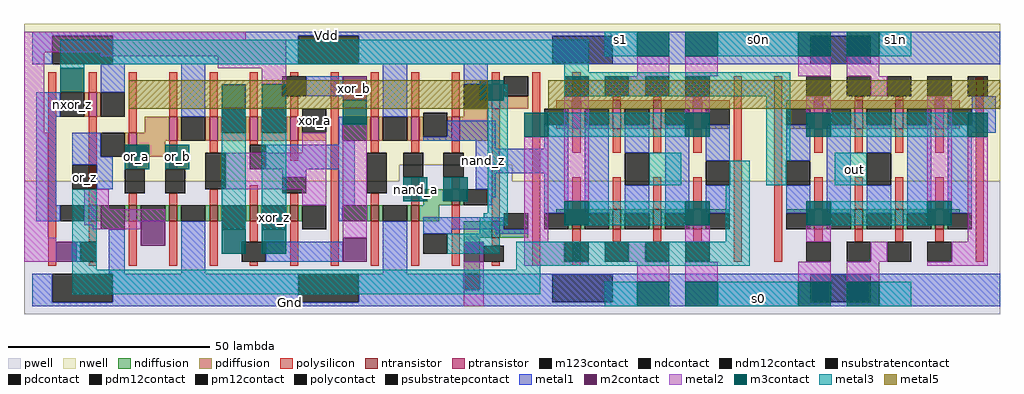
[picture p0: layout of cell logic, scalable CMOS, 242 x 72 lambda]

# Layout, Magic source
magic
tech scmos
<< nwell >>
rect 85 37 327 72
rect 85 33 178 37
rect 206 33 327 37
<< pwell >>
rect 178 33 206 37
rect 85 0 327 33
<< ntransistor >>
rect 101 23 103 27
rect 111 23 113 27
rect 121 23 123 27
rect 131 23 133 27
rect 141 23 143 27
rect 151 23 153 27
rect 191 27 193 31
rect 171 23 173 27
rect 181 23 183 27
rect 201 19 203 23
<< ptransistor >>
rect 101 49 103 55
rect 111 39 113 45
rect 121 43 123 49
rect 131 43 133 49
rect 141 43 143 49
rect 151 43 153 49
rect 171 43 173 49
rect 181 43 183 49
rect 201 51 203 57
rect 191 43 193 49
<< ndiffusion >>
rect 100 23 101 27
rect 103 23 104 27
rect 110 23 111 27
rect 113 23 114 27
rect 120 23 121 27
rect 123 23 124 27
rect 130 23 131 27
rect 133 23 134 27
rect 140 23 141 27
rect 143 23 144 27
rect 150 23 151 27
rect 153 23 154 27
rect 184 27 191 31
rect 193 27 194 31
rect 170 23 171 27
rect 173 23 174 27
rect 180 23 181 27
rect 183 23 188 27
rect 194 19 201 23
rect 203 21 204 23
rect 203 19 210 21
rect 194 10 198 19
<< pdiffusion >>
rect 100 49 101 55
rect 103 49 104 55
rect 115 45 121 49
rect 110 39 111 45
rect 113 43 121 45
rect 123 43 124 49
rect 130 43 131 49
rect 133 45 134 49
rect 140 45 141 49
rect 133 43 141 45
rect 143 45 144 49
rect 150 45 151 49
rect 143 43 151 45
rect 153 45 154 49
rect 153 43 160 45
rect 113 39 120 43
rect 170 43 171 49
rect 173 43 174 49
rect 180 43 181 49
rect 183 44 184 49
rect 200 51 201 57
rect 203 54 204 57
rect 203 51 210 54
rect 194 49 200 51
rect 190 44 191 49
rect 183 43 191 44
rect 193 43 200 49
<< ndcontact >>
rect 94 23 100 27
rect 104 21 110 27
rect 114 23 120 27
rect 124 23 130 27
rect 194 27 200 31
rect 164 23 170 27
rect 174 23 180 27
rect 204 21 210 25
rect 194 6 198 10
<< pdcontact >>
rect 104 49 110 55
rect 104 39 110 45
rect 124 43 130 49
rect 164 43 170 49
rect 174 43 180 49
rect 194 51 200 57
<< psubstratepcontact >>
rect 92 3 107 10
rect 153 3 168 10
rect 216 3 231 10
rect 280 3 295 10
<< nsubstratencontact >>
rect 92 62 107 69
rect 153 62 168 69
rect 216 62 231 69
rect 280 62 295 69
<< polysilicon >>
rect 91 12 93 60
rect 101 55 103 60
rect 101 27 103 49
rect 111 45 113 60
rect 121 49 123 60
rect 131 49 133 60
rect 141 49 143 60
rect 151 59 153 60
rect 151 49 153 54
rect 111 36 113 39
rect 121 36 123 43
rect 131 40 133 43
rect 141 42 143 43
rect 151 38 153 43
rect 111 27 113 30
rect 121 27 123 30
rect 131 27 133 31
rect 141 27 143 32
rect 151 27 153 30
rect 101 18 103 23
rect 101 12 103 13
rect 111 12 113 23
rect 121 12 123 23
rect 131 12 133 23
rect 141 18 143 23
rect 141 12 143 13
rect 151 12 153 23
rect 161 12 163 60
rect 171 49 173 60
rect 181 49 183 60
rect 191 49 193 60
rect 201 57 203 60
rect 171 40 173 43
rect 181 40 183 43
rect 191 40 193 43
rect 171 27 173 30
rect 181 27 183 34
rect 191 31 193 34
rect 171 12 173 23
rect 181 12 183 23
rect 191 12 193 27
rect 201 23 203 51
rect 201 17 203 19
rect 201 12 203 13
rect 211 12 213 60
rect 221 40 223 60
rect 221 12 223 34
<< polycontact >>
rect 149 54 155 59
rect 141 36 145 42
rect 149 30 155 34
rect 99 13 103 18
rect 139 13 145 18
rect 199 13 204 17
<< metal1 >>
rect 87 69 219 70
rect 87 62 92 69
rect 107 62 153 69
rect 168 62 216 69
rect 104 55 110 62
rect 88 49 94 55
rect 124 49 130 62
rect 155 54 164 59
rect 88 27 93 49
rect 97 39 104 45
rect 174 49 180 62
rect 194 57 200 62
rect 163 43 164 49
rect 190 44 202 48
rect 184 43 202 44
rect 163 42 167 43
rect 97 37 107 39
rect 103 31 107 37
rect 145 36 167 42
rect 197 41 202 43
rect 149 34 155 36
rect 163 27 167 36
rect 197 35 220 41
rect 197 31 202 35
rect 200 29 202 31
rect 200 27 201 29
rect 88 23 94 27
rect 98 13 99 18
rect 106 10 110 21
rect 124 10 130 23
rect 163 23 164 27
rect 145 13 164 18
rect 174 10 180 23
rect 184 21 204 24
rect 184 20 191 21
rect 202 20 210 21
rect 87 3 92 10
rect 107 3 153 10
rect 168 6 194 10
rect 198 6 216 10
rect 168 3 216 6
rect 87 2 222 3
<< m2contact >>
rect 164 53 170 59
rect 93 13 98 18
rect 114 17 120 23
rect 164 13 170 19
rect 194 13 199 18
<< pm12contact >>
rect 110 30 115 36
rect 120 30 125 36
rect 130 31 135 40
rect 170 30 175 40
rect 179 34 184 40
rect 189 34 194 40
<< pdm12contact >>
rect 94 49 100 55
rect 134 45 140 51
rect 144 45 150 51
rect 154 45 160 51
rect 204 54 210 59
rect 184 44 190 50
<< ndm12contact >>
rect 134 21 140 27
rect 144 21 150 27
rect 154 21 160 27
<< metal2 >>
rect 85 68 140 70
rect 85 65 150 68
rect 85 45 90 65
rect 104 64 150 65
rect 133 61 150 64
rect 144 57 150 61
rect 85 19 91 45
rect 154 40 160 45
rect 100 26 106 31
rect 135 31 160 40
rect 154 27 160 31
rect 100 23 120 26
rect 100 22 114 23
rect 102 21 114 22
rect 85 13 93 19
rect 164 19 170 47
rect 194 2 199 13
<< m3contact >>
rect 94 55 100 61
rect 134 51 140 57
rect 144 51 150 57
rect 198 53 204 58
rect 110 36 116 42
rect 120 36 126 42
rect 134 15 140 21
rect 164 47 170 53
rect 144 15 150 21
rect 179 28 185 34
rect 189 28 195 34
<< m123contact >>
rect 97 31 103 37
rect 184 15 190 20
<< metal3 >>
rect 94 62 210 68
rect 232 67 234 69
rect 266 67 268 69
rect 300 67 302 69
rect 94 61 100 62
rect 97 11 103 31
rect 134 21 140 51
rect 204 53 205 57
rect 144 21 150 51
rect 200 25 205 53
rect 241 33 244 38
rect 289 35 294 38
rect 199 24 205 25
rect 198 22 205 24
rect 198 20 203 22
rect 190 15 203 20
rect 207 11 213 18
rect 97 5 213 11
rect 232 3 234 5
rect 266 3 268 5
rect 300 3 302 5
<< metal5 >>
rect 111 51 200 58
rect 215 51 327 58
use mux_4_to_1  mux_4_to_1_0
transform 1 0 221 0 1 64
box -14 -62 106 6
<< labels >>
rlabel m2contact 167 56 167 56 1 xor_b
rlabel pdm12contact 157 48 157 48 1 xor_a
rlabel metal3 147 24 147 24 1 xor_z
rlabel m3contact 113 39 113 39 1 or_a
rlabel m3contact 123 39 123 39 1 or_b
rlabel m3contact 182 31 182 31 1 nand_a
rlabel metal1 199 38 199 38 1 nand_z
rlabel pdm12contact 97 52 97 52 1 nxor_z
rlabel m123contact 100 34 100 34 1 or_z
rlabel metal3 267 4 267 4 1 s0
rlabel metal3 301 68 301 68 5 s1n
rlabel metal3 267 68 267 68 5 s0n
rlabel metal3 233 68 233 68 5 s1
rlabel metal3 291 36 291 36 1 out
rlabel m3contact 192 31 192 31 1 nand_b
rlabel metal1 160 69 160 69 5 Vdd
rlabel metal1 151 3 151 3 1 Gnd
<< end >>

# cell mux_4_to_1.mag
magic
tech scmos
<< ntransistor >>
rect 0 -43 2 -38
rect 10 -43 12 -38
rect 20 -43 22 -38
rect 30 -43 32 -38
rect 60 -43 62 -38
rect 70 -43 72 -38
rect 80 -43 82 -38
rect 90 -43 92 -38
<< ptransistor >>
rect 0 -18 2 -11
rect 10 -18 12 -11
rect 20 -18 22 -11
rect 30 -18 32 -11
rect 60 -18 62 -11
rect 70 -18 72 -11
rect 80 -18 82 -11
rect 90 -18 92 -11
<< ndiffusion >>
rect -4 -39 0 -38
rect -1 -43 0 -39
rect 2 -39 10 -38
rect 2 -43 3 -39
rect 9 -43 10 -39
rect 12 -39 20 -38
rect 12 -43 13 -39
rect 19 -43 20 -39
rect 22 -39 30 -38
rect 22 -43 23 -39
rect 29 -43 30 -39
rect 32 -39 39 -38
rect 32 -43 33 -39
rect 53 -39 60 -38
rect 59 -43 60 -39
rect 62 -39 70 -38
rect 62 -43 63 -39
rect 69 -43 70 -39
rect 72 -39 80 -38
rect 72 -43 73 -39
rect 79 -43 80 -39
rect 82 -39 90 -38
rect 82 -43 83 -39
rect 89 -43 90 -39
rect 92 -39 96 -38
rect 92 -43 93 -39
<< pdiffusion >>
rect -4 -13 0 -11
rect -1 -17 0 -13
rect -4 -18 0 -17
rect 2 -13 10 -11
rect 2 -17 3 -13
rect 9 -17 10 -13
rect 2 -18 10 -17
rect 12 -13 20 -11
rect 12 -17 13 -13
rect 19 -17 20 -13
rect 12 -18 20 -17
rect 22 -13 30 -11
rect 22 -17 23 -13
rect 29 -17 30 -13
rect 22 -18 30 -17
rect 32 -13 39 -11
rect 32 -17 33 -13
rect 32 -18 39 -17
rect 53 -13 60 -11
rect 59 -17 60 -13
rect 53 -18 60 -17
rect 62 -13 70 -11
rect 62 -17 63 -13
rect 69 -17 70 -13
rect 62 -18 70 -17
rect 72 -13 80 -11
rect 72 -17 73 -13
rect 79 -17 80 -13
rect 72 -18 80 -17
rect 82 -13 90 -11
rect 82 -17 83 -13
rect 89 -17 90 -13
rect 82 -18 90 -17
rect 92 -13 96 -11
rect 92 -17 93 -13
rect 92 -18 96 -17
<< ndcontact >>
rect -7 -43 -1 -39
rect 3 -43 9 -39
rect 13 -43 19 -39
rect 23 -43 29 -39
rect 33 -43 39 -39
rect 53 -43 59 -39
rect 63 -43 69 -39
rect 73 -43 79 -39
rect 83 -43 89 -39
rect 93 -43 99 -39
<< pdcontact >>
rect -7 -17 -1 -13
rect 3 -17 9 -13
rect 13 -17 19 -13
rect 23 -17 29 -13
rect 33 -17 39 -13
rect 53 -17 59 -13
rect 63 -17 69 -13
rect 73 -17 79 -13
rect 83 -17 89 -13
rect 93 -17 99 -13
<< polysilicon >>
rect -10 -51 -8 -5
rect 0 -11 2 -10
rect 10 -11 12 -10
rect 20 -11 22 -10
rect 30 -11 32 -10
rect 0 -24 2 -18
rect 10 -24 12 -18
rect 20 -24 22 -18
rect 30 -24 32 -18
rect 0 -38 2 -30
rect 10 -38 12 -30
rect 20 -38 22 -30
rect 30 -38 32 -30
rect 0 -46 2 -43
rect 10 -46 12 -43
rect 20 -46 22 -43
rect 30 -46 32 -43
rect 40 -51 42 -5
rect 50 -51 52 -5
rect 60 -11 62 -10
rect 70 -11 72 -10
rect 80 -11 82 -10
rect 90 -11 92 -10
rect 60 -24 62 -18
rect 70 -24 72 -18
rect 80 -24 82 -18
rect 90 -24 92 -18
rect 60 -38 62 -30
rect 70 -38 72 -30
rect 80 -38 82 -30
rect 90 -38 92 -30
rect 60 -46 62 -43
rect 70 -46 72 -43
rect 80 -46 82 -43
rect 90 -46 92 -43
rect 100 -51 102 -5
<< metal1 >>
rect -14 -2 106 6
rect -7 -39 -1 -17
rect 3 -39 9 -17
rect 13 -24 19 -17
rect 13 -39 19 -32
rect 23 -39 29 -17
rect 33 -26 39 -17
rect 33 -39 39 -32
rect 53 -26 59 -17
rect 53 -39 59 -32
rect 63 -39 69 -17
rect 73 -24 79 -17
rect 73 -39 79 -32
rect 83 -39 89 -17
rect 99 -17 105 -10
rect 93 -19 105 -17
rect 93 -39 99 -19
rect -14 -62 106 -54
<< pm12contact >>
rect -2 -10 4 -5
rect 8 -10 14 -5
rect 18 -10 24 -5
rect 28 -10 34 -5
rect 58 -10 64 -5
rect 68 -10 74 -5
rect 78 -10 84 -5
rect 88 -10 94 -5
rect -2 -51 4 -46
rect 8 -51 14 -46
rect 18 -51 24 -46
rect 28 -51 34 -46
rect 58 -51 64 -46
rect 68 -51 74 -46
rect 78 -51 84 -46
rect 88 -51 94 -46
<< metal2 >>
rect 16 -5 24 0
rect 14 -10 18 -5
rect 28 -5 36 0
rect 56 -5 64 0
rect -12 -46 -6 -20
rect -2 -36 4 -10
rect 28 -14 34 -10
rect 68 -5 76 0
rect 74 -10 78 -5
rect 58 -14 64 -10
rect 88 -36 94 -10
rect 28 -46 34 -42
rect -12 -51 -2 -46
rect 14 -51 18 -46
rect -12 -52 4 -51
rect 16 -56 24 -51
rect 58 -46 64 -42
rect 98 -46 103 -20
rect 28 -56 36 -51
rect 56 -56 64 -51
rect 74 -51 78 -46
rect 94 -51 103 -46
rect 68 -56 76 -51
rect 88 -52 103 -51
<< m3contact >>
rect 16 0 24 6
rect 28 0 36 6
rect 56 0 64 6
rect -12 -20 -6 -14
rect 28 -20 34 -14
rect 68 0 76 6
rect 58 -20 64 -14
rect -2 -42 4 -36
rect 28 -42 34 -36
rect 16 -62 24 -56
rect 58 -42 64 -36
rect 88 -42 94 -36
rect 98 -20 103 -14
rect 28 -62 36 -56
rect 56 -62 64 -56
rect 68 -62 76 -56
<< m123contact >>
rect 98 -10 103 -5
rect 13 -32 19 -24
rect 33 -32 39 -26
rect 53 -32 59 -26
rect 73 -32 79 -24
<< metal3 >>
rect -14 -2 4 4
rect 8 0 16 6
rect 36 0 56 6
rect 76 0 84 6
rect -2 -4 4 -2
rect -2 -10 54 -4
rect -6 -20 28 -14
rect 19 -32 27 -24
rect 48 -26 54 -10
rect 64 -20 98 -14
rect 39 -32 44 -26
rect 48 -32 53 -26
rect 65 -32 73 -24
rect 4 -42 28 -36
rect 38 -46 44 -32
rect 64 -42 88 -36
rect -14 -52 44 -46
rect 8 -62 16 -56
rect 36 -62 56 -56
rect 76 -62 84 -56
<< labels >>
rlabel metal3 70 -28 70 -28 1 out
rlabel metal3 12 4 12 4 5 s1
rlabel metal3 80 4 80 4 5 s1n
rlabel metal3 46 4 46 4 5 s0n
rlabel metal3 46 -60 46 -60 1 s0
rlabel metal1 -4 -29 -4 -29 1 in_00
rlabel metal3 -13 1 -13 1 4 in_11
rlabel metal3 -13 -49 -13 -49 3 in_01
rlabel metal1 104 -15 104 -15 7 in_10
<< end >>
